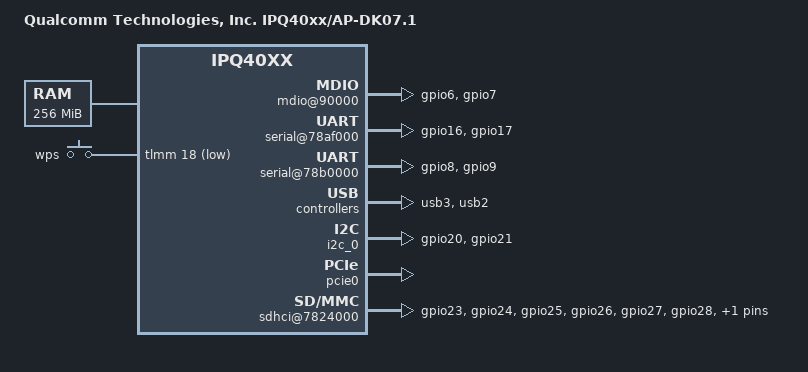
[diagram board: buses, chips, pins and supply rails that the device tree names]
/* Copyright (c) 2015-2016, The Linux Foundation. All rights reserved.
 *
 * Permission to use, copy, modify, and/or distribute this software for any
 * purpose with or without fee is hereby granted, provided that the above
 * copyright notice and this permission notice appear in all copies.
 *
 * THE SOFTWARE IS PROVIDED "AS IS" AND THE AUTHOR DISCLAIMS ALL WARRANTIES
 * WITH REGARD TO THIS SOFTWARE INCLUDING ALL IMPLIED WARRANTIES OF
 * MERCHANTABILITY AND FITNESS. IN NO EVENT SHALL THE AUTHOR BE LIABLE FOR
 * ANY SPECIAL, DIRECT, INDIRECT, OR CONSEQUENTIAL DAMAGES OR ANY DAMAGES
 * WHATSOEVER RESULTING FROM LOSS OF USE, DATA OR PROFITS, WHETHER IN AN
 * ACTION OF CONTRACT, NEGLIGENCE OR OTHER TORTIOUS ACTION, ARISING OUT OF
 * OR IN CONNECTION WITH THE USE OR PERFORMANCE OF THIS SOFTWARE.
 *
 */

#include "qcom-ipq40xx.dtsi"
#include "qcom-ipq40xx-hsuart.dtsi"
#include <dt-bindings/input/input.h>
#include <dt-bindings/gpio/gpio.h>

/ {
	model = "Qualcomm Technologies, Inc. IPQ40xx/AP-DK07.1";
	compatible = "qcom,ipq40xx-apdk04.1", "qcom,ipq40xx";

	memory {
		device_type = "memory";
		reg = <0x80000000 0x10000000>; /* 256MB */
	};

	reserved-memory {
		#address-cells = <1>;
		#size-cells = <1>;
		ranges;
		rsvd1@87000000 {
			/* Reserved for other subsystem */
			reg = <0x87000000 0x500000>;
			no-map;
		};
		wifi_dump@87500000 {
			reg = <0x87500000 0x600000>;
			no-map;
		};

		rsvd2@87B00000 {
			/* Reserved for other subsystem */
			reg = <0x87B00000 0x500000>;
			no-map;
		};
	};

	chosen {
		bootargs-append = " clk_ignore_unused";
	};

};
	&soc {
		pinctrl@0x01000000 {
			mdio_pins: mdio_pinmux {
				mux_1 {
					pins = "gpio6";
					function = "mdio0";
					bias-pull-up;
				};
				mux_2 {
					pins = "gpio7";
					function = "mdc";
					bias-pull-up;
				};
			};

			serial_0_pins: serial0_pinmux {
				mux {
					pins = "gpio16", "gpio17";
					function = "blsp_uart0";
					bias-disable;
				};
			};

			serial_1_pins: serial1_pinmux {
				mux {
					pins = "gpio8", "gpio9";
					function = "blsp_uart1";
					bias-disable;
				};
			};

			spi_1_pins: spi_1_pinmux {
				mux {
					pins = "gpio44", "gpio46", "gpio47";
					function = "blsp_spi1";
					bias-disable;
				};
				host_int {
					pins = "gpio42";
					function = "gpio";
					input;
				};
				cs {
					pins = "gpio45";
					function = "gpio";
					bias-pull-up;
				};
				wake {
					pins = "gpio31";
					function = "gpio";
					output-high;
				};
				reset {
					pins = "gpio49";
					function = "gpio";
					output-high;
				};
			};

			i2c_0_pins: i2c_0_pinmux {
				mux {
					pins = "gpio20", "gpio21";
					function = "blsp_i2c0";
					bias-disable;
				};
			};
			sd_0_pins: sd_0_pinmux {
				sd0 {
					pins = "gpio23";
					function = "sdio0";
					pull-res = <RES_35_KOHM>;
					drive-type = <DRV_TYPE_C>;
					vm-enable;
				};
				sd1 {
					pins = "gpio24";
					function = "sdio1";
					pull-res = <RES_35_KOHM>;
					drive-type = <DRV_TYPE_C>;
					vm-enable;
				};
				sd2 {
					pins = "gpio25";
					function = "sdio2";
					pull-res = <RES_35_KOHM>;
					drive-type = <DRV_TYPE_C>;
					vm-enable;
				};
				sd3 {
					pins = "gpio26";
					function = "sdio3";
					pull-res = <RES_35_KOHM>;
					drive-type = <DRV_TYPE_C>;
					vm-enable;
				};
				sdclk {
					pins = "gpio27";
					function = "sdio_clk";
					pull-res = <RES_35_KOHM>;
					drive-type = <DRV_TYPE_A>;
					vm-enable;
				};
				sdcmd {
					pins = "gpio28";
					function = "sdio_cmd";
					pull-res = <RES_35_KOHM>;
					drive-type = <DRV_TYPE_C>;
					vm-enable;
				};
			};
			ts_0_pins: ts_0_pinmux {
				mux_1 {
					pins = "gpio34";
					output-high;
				};
				mux_2 {
					pins= "gpio35";
					input-enable;
					bias-pull-up;
				};
			};
		};

		mdio@90000 {
			status = "ok";
			pinctrl-0 = <&mdio_pins>;
			pinctrl-names = "default";
			phy-reset-gpio = <&tlmm 41 0>;
			status = "ok";
			bias-disable;
		};

		serial@78af000 {
			pinctrl-0 = <&serial_0_pins>;
			pinctrl-names = "default";
			status = "ok";
		};

		serial@78b0000 {
			pinctrl-0 = <&serial_1_pins>;
			pinctrl-names = "default";
			status = "ok";
		};

		spi_1: spi@78b6000 { /* BLSP1 QUP2 */
			pinctrl-0 = <&spi_1_pins>;
			pinctrl-names = "default";
			status = "disabled";

			spidev1: spi@1 {
				compatible = "spidev";
				reg = <0>;
				spi-max-frequency = <24000000>;
			};
		};

		tcsr: tcsr@194b000 {
			status = "ok";
		};

		usb3_ss_phy: ssphy@0 {
			status = "ok";
		};

		dummy_ss_phy: ssphy@1 {
			status = "ok";
		};

		usb3_hs_phy: hsphy@a6000 {
			status = "ok";
		};

		usb2_hs_phy: hsphy@a8000 {
			status = "ok";
		};

		usb3: usb3@8a00000 {
			status = "ok";
		};

		usb2: usb2@6000000 {
			status = "ok";
		};

		i2c_0: i2c@78b7000 { /* BLSP1 QUP2 */
			pinctrl-0 = <&i2c_0_pins>;
			pinctrl-1 = <&i2c_0_pins>;
			pinctrl-names = "i2c_active", "i2c_sleep";
			status = "ok";

			qca_codec: qca_codec@12 {
				compatible = "qca,ipq40xx-codec";
				reg = <0x12>;
				status = "disabled";
			};

			lcd_ts: lcd_ts@40 {
				compatible = "qca,gsl1680_ts";
				reg = <0x40>;
				status = "disabled";
			};
		};

		qcom_crypto: qcrypto@8e20000 {
			status = "ok";
		};

		qcom_cedev: qcedev@8e20000 {
			status = "ok";
		};

		pcie0: qcom,pcie@80000 {
			status = "ok";
			perst-gpio = <&tlmm 38 0>;
			wake-gpio = <&tlmm 40 0>;
			clkreq-gpio = <&tlmm 39 0>;

			pcie@0 {
				reg = <0 0 0 0 0>;
				#interrupt-cells = <1>;
				#size-cells = <2>;
				#address-cells = <3>;
				device_type = "pci";

				ath10k@0,0 {
					reg = <0 0 0 0 0>;
					device_type = "pci";
					qcom,mtd-name = "0:ART";
					qcom,cal-offset = <0x9000>;
					qcom,cal-len = <12064>;
				};
			};
		};

		ess-switch@c000000 {
			switch_mac_mode = <0x0>; /* mac mode for RGMII RMII */
			switch_initvlas = <
				0x0007c 0x54 /* PORT0_STATUS */
			>;
		};

		vccq_sd0: regulator@0 {
			compatible = "qcom,regulator-ipq40xx";
			regulator-name = "SD0 VccQ";
			regulator-min-microvolt = <1800000>;
			regulator-max-microvolt = <3000000>;
			states = <3000000 0x3
				1800000 0x1>;
			reg = <0x01948000 0x4>;
			mask = <0x3>;
		};

		sdhci@7824000 {
			status = "ok";
			pinctrl-0 = <&sd_0_pins>;
			pinctrl-names = "default";
			vqmmc-supply = <&vccq_sd0>;
			cd-gpios = <&tlmm 22 0x1>;
			sd-ldo-gpios = <&tlmm 33 0x1>;
		};

		qcom,nand@7980000 {
			status = "disabled";
		};

		gpio_keys {
			compatible = "gpio-keys";

			button@1 {
				label = "wps";
				linux,code = <KEY_WPS_BUTTON>;
				gpios = <&tlmm 18 GPIO_ACTIVE_LOW>;
				linux,input-type = <1>;
			};
		};

		wifi0: wifi@a000000 {
			wifi-led-gpios = <&tlmm 32 GPIO_ACTIVE_LOW>;    /* wifi0 led */
			wifi-rssi-gpios = <&tlmm 36 GPIO_ACTIVE_LOW>;   /* wifi0 signal strength led */
			qcom,mtd-name = "0:ART";
			qcom,cal-offset = <0x1000>;
			qcom,cal-len = <12064>;
		};

		wifi1: wifi@a800000 {
			wifi-led-gpios = <&tlmm 50 GPIO_ACTIVE_LOW>;    /* wifi1 led */
			wifi-rssi-gpios = <&tlmm 39 GPIO_ACTIVE_LOW>;   /* wifi1 signal strength led */
			qcom,mtd-name = "0:ART";
			qcom,cal-offset = <0x5000>;
			qcom,cal-len = <12064>;
		};
	};
